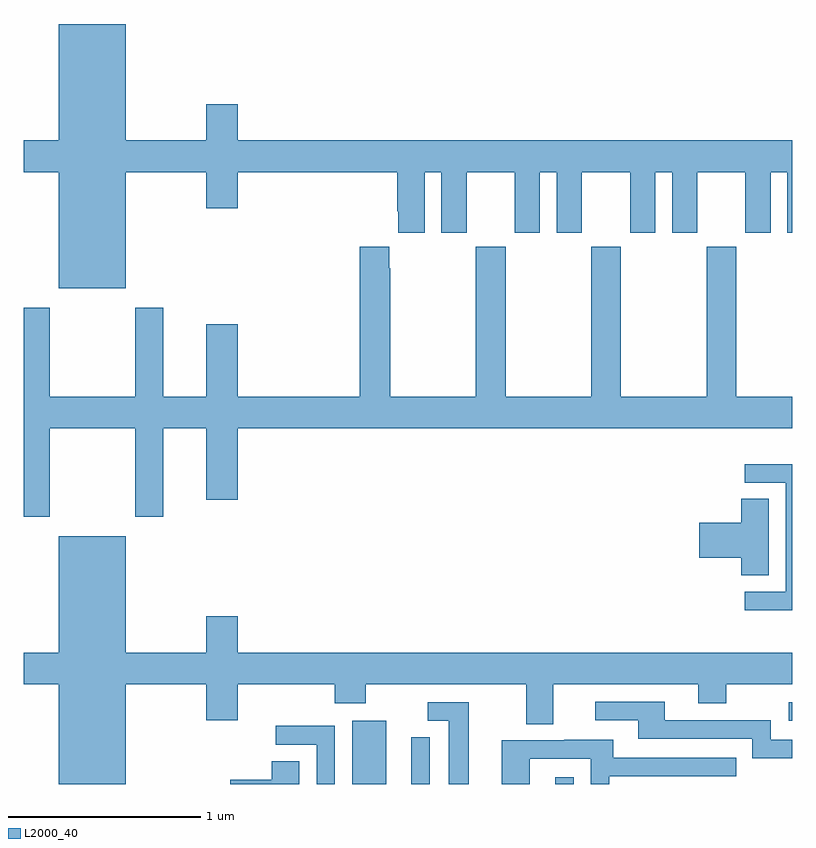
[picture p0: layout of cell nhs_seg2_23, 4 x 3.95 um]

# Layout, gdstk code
import gdstk
lib = gdstk.Library(unit=1e-6, precision=1e-09)
def R(c, l, rs):  # rectangles x0, y0, x1, y1
    for r in rs: c.add(gdstk.rectangle(r[:2], r[2:], *l))
def P(c, l, *ps):  # polygons
    for p in ps: c.add(gdstk.Polygon(p, *l))
L2000_40 = (2000, 40)

nhs_seg2_23 = lib.new_cell('nhs_seg2_23')
R(nhs_seg2_23, L2000_40, [(112.709,629.8,112.888,630.13), (113.765,629.8,113.862,629.836), (114.981,630.129,115,630.225)])
P(nhs_seg2_23, L2000_40, [(111.532,632.984),(111.95,632.984),(111.95,632.796),(112.114,632.796),(112.114,632.984),(112.943,632.984),(112.943,632.779),(112.949,632.779),(112.949,632.667),(113.086,632.667),(113.086,632.984),(113.174,632.984),(113.174,632.667),(113.305,632.667),(113.305,632.984),(113.555,632.984),(113.555,632.667),(113.686,632.667),(113.686,632.984),(113.774,632.984),(113.774,632.667),(113.905,632.667),(113.905,632.984),(114.155,632.984),(114.155,632.667),(114.286,632.667),(114.286,632.984),(114.374,632.984),(114.374,632.667),(114.505,632.667),(114.505,632.984),(114.755,632.984),(114.755,632.667),(114.886,632.667),(114.886,632.984),(114.974,632.984),(114.974,632.667),(115,632.667),(115,633.148),(112.114,633.148),(112.114,633.337),(111.95,633.337),(111.95,633.148),(111.532,633.148),(111.532,633.754),(111.182,633.754),(111.182,633.148),(111,633.148),(111,632.984),(111.182,632.984),(111.182,632.378),(111.532,632.378)],
  [(111.135,631.652),(111.58,631.652),(111.58,631.191),(111.727,631.191),(111.727,631.652),(111.95,631.652),(111.95,631.278),(112.114,631.278),(112.114,631.652),(115,631.652),(115,631.816),(114.708,631.816),(114.708,632.596),(114.553,632.596),(114.553,631.816),(114.108,631.816),(114.108,632.596),(113.953,632.596),(113.953,631.816),(113.508,631.816),(113.508,632.596),(113.353,632.596),(113.353,631.816),(112.908,631.816),(112.908,632.483),(112.903,632.483),(112.903,632.596),(112.748,632.596),(112.748,631.816),(112.114,631.816),(112.114,632.191),(111.95,632.191),(111.95,631.816),(111.727,631.816),(111.727,632.278),(111.58,632.278),(111.58,631.816),(111.135,631.816),(111.135,632.278),(111,632.278),(111,631.191),(111.135,631.191)],
  [(115,631.464),(114.753,631.464),(114.753,631.368),(114.966,631.368),(114.966,630.801),(114.753,630.801),(114.753,630.703),(115,630.703)],
  [(114.877,631.283),(114.734,631.283),(114.734,631.16),(114.516,631.16),(114.516,630.977),(114.734,630.977),(114.734,630.886),(114.877,630.886)],
  [(111.532,630.32),(111.95,630.32),(111.95,630.132),(112.114,630.132),(112.114,630.32),(112.619,630.32),(112.619,630.221),(112.779,630.221),(112.779,630.32),(113.615,630.32),(113.615,630.112),(113.755,630.112),(113.755,630.32),(114.509,630.32),(114.509,630.221),(114.657,630.221),(114.657,630.32),(115,630.32),(115,630.484),(112.114,630.484),(112.114,630.673),(111.95,630.673),(111.95,630.484),(111.532,630.484),(111.532,631.09),(111.182,631.09),(111.182,630.484),(111,630.484),(111,630.32),(111.182,630.32),(111.182,629.8),(111.532,629.8)],
  [(115,630.03),(114.888,630.03),(114.888,630.132),(114.337,630.132),(114.337,630.228),(113.973,630.228),(113.973,630.132),(114.197,630.132),(114.197,630.036),(114.792,630.036),(114.792,629.933),(115,629.933)],
  [(113.317,630.225),(113.103,630.225),(113.103,630.129),(113.213,630.129),(113.213,629.8),(113.317,629.8)],
  [(112.62,630.102),(112.311,630.102),(112.311,630.003),(112.524,630.003),(112.524,629.8),(112.62,629.8)],
  [(113.112,630.044),(113.016,630.044),(113.016,629.89),(113.018,629.89),(113.018,629.8),(113.112,629.8)],
  [(113.634,629.931),(113.952,629.931),(113.952,629.8),(114.048,629.8),(114.048,629.841),(114.707,629.841),(114.707,629.937),(114.067,629.937),(114.067,630.031),(113.813,630.031),(113.813,630.027),(113.489,630.027),(113.489,629.8),(113.634,629.8)],
  [(112.435,629.918),(112.292,629.918),(112.292,629.823),(112.074,629.823),(112.074,629.8),(112.435,629.8)])

lib.write_gds('nhs_seg2_23.gds')
